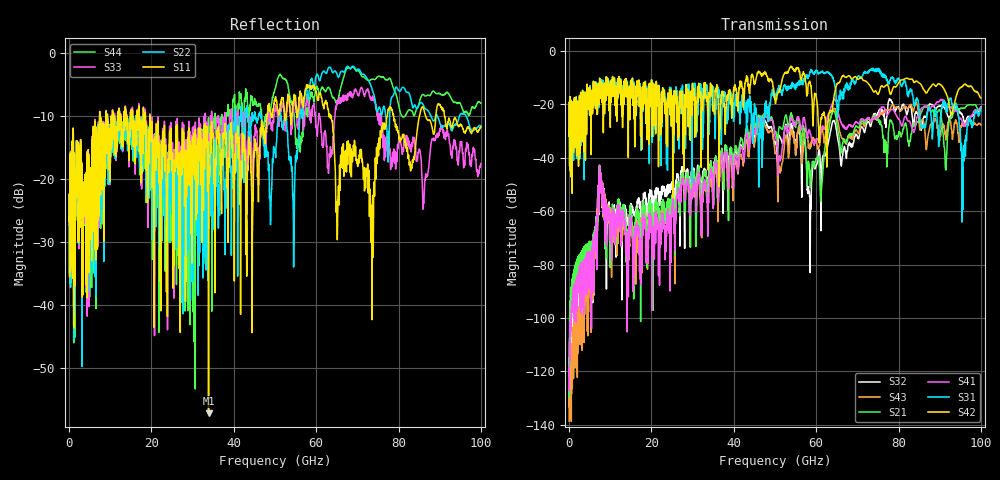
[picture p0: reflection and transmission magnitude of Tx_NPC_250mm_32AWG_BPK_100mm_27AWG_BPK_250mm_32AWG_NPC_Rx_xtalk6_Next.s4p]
! Info: Touchstone file created by Circ.  Input file=Tx_NPC_250mm_32AWG_BPK_100mm_27AWG_BPK_250mm_32AWG_NPC_Rx.circ
# Hz S RI R 50
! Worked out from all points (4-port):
!   10000 points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, 10 MHz to 100 GHz, reference 50 ohm
!   strongest paths, dB at 10 MHz, 25.01 GHz, 50.01 GHz, 75.01 GHz, 100 GHz:
!     S42: -32.0, -21.9, -18.4, -16.3, -17.6
!     S31: -32.0, -20.3, -17.2, -6.9, -21.5
!     S41: -118.8, -57.7, -31.8, -24.3, -21.2
!     S21: -120.8, -53.9, -30.7, -25.6, -22.4
!     S43: -138.6, -54.4, -38.2, -25.1, -27.7
!     S32: -122.0, -49.0, -34.7, -23.2, -21.0
!   lowest |S11| = -57.3 dB at 33.87 GHz (marker M1), VSWR 1.00, Z = 49.9 + j0.0299 ohm
!   |S11| at or under -10 dB: 19.64 GHz to 48 GHz (28.36 GHz wide, 83.9 % of centre); 63.63 GHz to 77.28 GHz (13.65 GHz wide, 19.4 % of centre); 91.16 GHz to end of sweep (the widest 3 of 38)
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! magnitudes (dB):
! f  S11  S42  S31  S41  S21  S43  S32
! 10 MHz  -26.7  -32.0  -32.0  -118.8  -120.8  -138.6  -122.0
! 7.72 GHz  -10.5  -11.4  -10.8  -46.4  -46.6  -46.2  -46.2
! 14.23 GHz  -14.3  -18.7  -17.4  -71.8  -71.1  -68.8  -62.8
! 33.87 GHz  -57.3  -17.8  -19.4  -56.9  -48.5  -56.1  -47.1
! 47.62 GHz  -12.5  -8.4  -22.8  -24.5  -23.0  -28.1  -26.3
! 58.31 GHz  -5.2  -11.5  -9.1  -29.5  -42.8  -36.2  -52.8
! 100 GHz  -11.7  -17.6  -21.5  -21.2  -22.4  -27.7  -21.0
